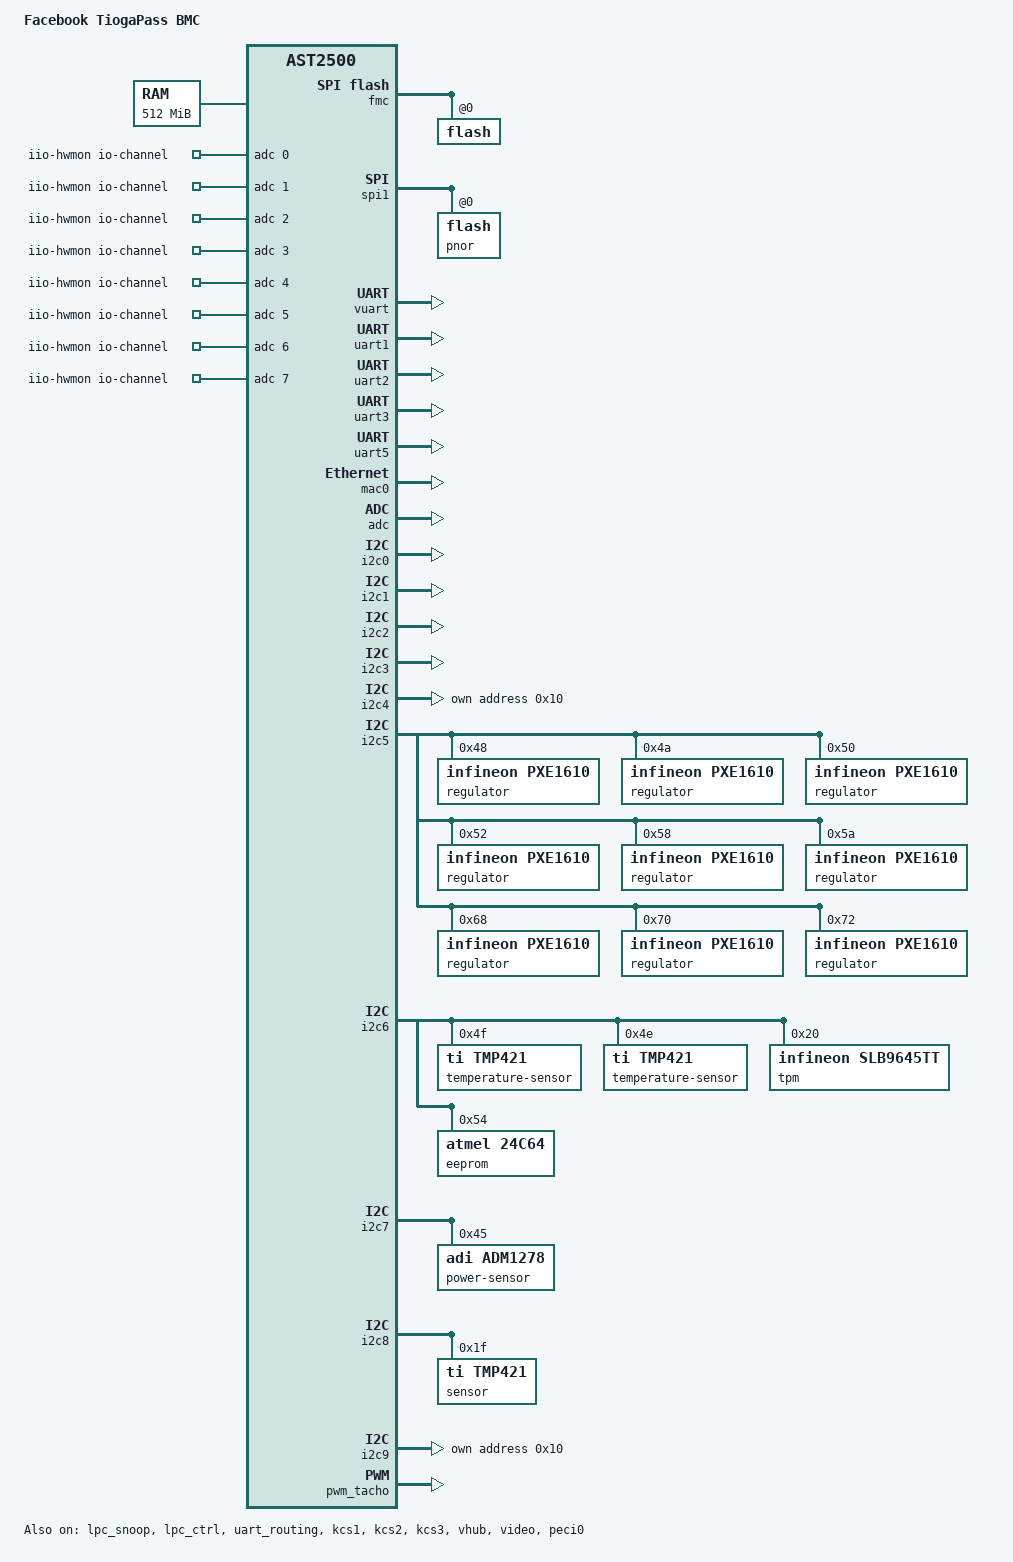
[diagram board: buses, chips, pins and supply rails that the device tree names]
// SPDX-License-Identifier: GPL-2.0+
// Copyright (c) 2018 Facebook Inc.
// Author: Vijay Khemka <vijaykhemka@fb.com>
/dts-v1/;

#include "aspeed-g5.dtsi"
#include <dt-bindings/gpio/aspeed-gpio.h>
#include <dt-bindings/interrupt-controller/irq.h>
#include <dt-bindings/i2c/i2c.h>

/ {
	model = "Facebook TiogaPass BMC";
	compatible = "facebook,tiogapass-bmc", "aspeed,ast2500";
	aliases {
		serial0 = &uart1;
		serial4 = &uart5;
	};

	chosen {
		stdout-path = &uart5;
		bootargs = "console=ttyS4,115200 earlycon";
	};

	memory@80000000 {
		reg = <0x80000000 0x20000000>;
	};

	reserved-memory {
		#address-cells = <1>;
		#size-cells = <1>;
		ranges;

		vga_memory: framebuffer@bc000000 {
			no-map;
			reg = <0xbc000000 0x04000000>; /* 64M */
		};

		video_engine_memory: jpegbuffer {
			size = <0x02000000>;	/* 32M */
			alignment = <0x01000000>;
			compatible = "shared-dma-pool";
			reusable;
		};
	};

	iio-hwmon {
		compatible = "iio-hwmon";
		io-channels = <&adc 0>, <&adc 1>, <&adc 2>, <&adc 3>,
			      <&adc 4>, <&adc 5>, <&adc 6>, <&adc 7>;
	};
};

&fmc {
	status = "okay";
	flash@0 {
		status = "okay";
		m25p,fast-read;
#include "openbmc-flash-layout-64.dtsi"
	};
};

&spi1 {
	status = "okay";
	pinctrl-names = "default";
	pinctrl-0 = <&pinctrl_spi1_default>;
	flash@0 {
		status = "okay";
		m25p,fast-read;
		label = "pnor";
	};
};

&lpc_snoop {
	status = "okay";
	snoop-ports = <0x80>;
};

&lpc_ctrl {
	// Enable lpc clock
	status = "okay";
};

&vuart {
        status = "okay";
        aspeed,lpc-io-reg = <0x2f8>;
        aspeed,lpc-interrupts = <3 IRQ_TYPE_LEVEL_HIGH>;
};

&uart1 {
	// Host Console
	status = "okay";
	pinctrl-names = "default";
	pinctrl-0 = <&pinctrl_txd1_default
		     &pinctrl_rxd1_default>;
};

&uart2 {
	// SoL Host Console
	status = "okay";
};

&uart3 {
	// SoL BMC Console
	status = "okay";
};

&uart5 {
	// BMC Console
	status = "okay";
};

&uart_routing {
	status = "okay";
};

&kcs1 {
	status = "okay";
	aspeed,lpc-io-reg = <0xca0>;
};

&kcs2 {
	status = "okay";
	aspeed,lpc-io-reg = <0xca8>;
};

&kcs3 {
	status = "okay";
	aspeed,lpc-io-reg = <0xca2>;
};

&mac0 { // OCP Mezz NIC
	status = "okay";

	pinctrl-names = "default";
	pinctrl-0 = <&pinctrl_rmii1_default>;
	clocks = <&syscon ASPEED_CLK_GATE_MAC1CLK>,
		 <&syscon ASPEED_CLK_MAC1RCLK>;
	clock-names = "MACCLK", "RCLK";
	use-ncsi;
};

&adc {
	status = "okay";
};

&vhub {
	status = "okay";
};

&video {
	status = "okay";
	memory-region = <&video_engine_memory>;
};

&peci0 {
	status = "okay";
};

&i2c0 {
	status = "okay";
	multi-master;
	//TODO: AirMax Conn B at 0x10?
	//TODO: CPU0 PIROM at 0x50
	//TODO: CPU1 PIROM at 0x51

	// Alicja: Is it really necessary? I see 0x10, 0x50, 0x51 when running our build...
};

&i2c1 {
	status = "okay";
	multi-master;
	//TODO
	//upstream .dts says there is an nxp,pca9544 at 0x71
	//but it does not appear for me even with host powered on.

	// Alicja: According to schematic, there's X24 Riser on this bus.
	// Maybe it will appear only with PCI-E mezzaine board installed?
};

&i2c2 {
	status = "okay";
	multi-master;
	//TODO at 0x10
	//TODO at 0x16
	//TODO at 0x70

	// Alicja: According to schematic, Mezzaine board and springwille should be here...
};

&i2c3 {
	status = "okay";
	multi-master;
	//TODO at 0x08 - Lewisburg PCH?
	//TODO at 0x44 - CKMNG?
	//TODO: Where's AT24?
	//TODO at 0x68 ICS9FGP204
	//TODO at 0x6c NB3W1200L (only when host is powered on) - A: Are you sure? Doesn't show up for me... 

/*
	TODO at 0x51 - looks like TMP421, even though it doesn't make sense (according to schematic)
	echo tmp421 0x51 > /sys/bus/i2c/devices/i2c-3/new_device
	[11722.981615] tmp421 3-0051: Enable monitoring chip
	[11723.024004] i2c i2c-3: new_device: Instantiated device tmp421 at 0x51
*/
};

&i2c4 {
	status = "okay";
	multi-master;
	// BMC Debug Header
	ipmb0@10 {
		compatible = "ipmb-dev";
		reg = <(0x10 | I2C_OWN_SLAVE_ADDRESS)>;
		i2c-protocol;
	};
	//TODO at 0x16
	//TODO at 0x70
	//springville smb should be here
};

&i2c5 {
	status = "okay";
	multi-master;
	
	// Needs more configuration.
	// See: Documentation/hwmon/pxe1610.rst
	regulator@48 {
		compatible = "infineon,pxe1610";
		reg = <0x48>;
	};
	regulator@4a {
		compatible = "infineon,pxe1610";
		reg = <0x4a>;
	};
	regulator@50 {
		compatible = "infineon,pxe1610";
		reg = <0x50>;
	};
	regulator@52 {
		compatible = "infineon,pxe1610";
		reg = <0x52>;
	};
	regulator@58 {
		compatible = "infineon,pxe1610";
		reg = <0x58>;
	};
	regulator@5a {
		compatible = "infineon,pxe1610";
		reg = <0x5a>;
	};
	regulator@68 {
		compatible = "infineon,pxe1610";
		reg = <0x68>;
	};
	regulator@70 {
		compatible = "infineon,pxe1610";
		reg = <0x70>;
	};
	regulator@72 {
		compatible = "infineon,pxe1610";
		reg = <0x72>;
	};
};

&i2c6 {
	status = "okay";
	multi-master;

// TODO: What's on 0x21? 
// TODO: What's on 0x50?
// One of them should be PCA9554... likely 0x21?

	// Not detected/nothing in dmesg
	temperature-sensor@4f {
		compatible = "ti,tmp421";
		reg = <0x4f>;
	};
	temperature-sensor@4e {
		compatible = "ti,tmp421";
		reg = <0x4e>;
	};

	tpm@20 {
		compatible = "infineon,slb9645tt";
		reg = <0x20>;
	};

	eeprom@54 {
		compatible = "atmel,24c64";
		reg = <0x54>;
		pagesize = <32>;
	};

};

&i2c7 {
	status = "okay";
	multi-master;
	
	power-sensor@45 {
		compatible = "adi,adm1278";
		reg = <0x45>;
		shunt-resistor-micro-ohms = <250>;
	};

};

&i2c8 {
	status = "okay";
	multi-master;
	// TODO: There's something on 0x61 on Meta's OpenBMC build. Possibly "MCP Sideband HFI"?

	// No TMP421 on this bus according to schematic but it appears on host power-on...
	sensor@1f {
		compatible = "ti,tmp421";
		reg = <0x1f>;
	};
};

&i2c9 {
	status = "okay";
	multi-master;
	//USB Debug Connector
	ipmb0@10 {
		compatible = "ipmb-dev";
		reg = <(0x10 | I2C_OWN_SLAVE_ADDRESS)>;
		i2c-protocol;
	};

	// One of them should be TCA9555 (tca9554 kmod) according to schematic
	// TODO 0x27 - likely TCA9555
	// TODO 0x30 - Likely USB Debug
};

&pwm_tacho {
	status = "okay";
	pinctrl-names = "default";
	pinctrl-0 = <&pinctrl_pwm0_default
					&pinctrl_pwm1_default>;
	fan@0 {
		reg = <0x00>;
		aspeed,fan-tach-ch = /bits/ 8 <0x00>;
	};
	fan@1 {
		reg = <0x01>;
		aspeed,fan-tach-ch = /bits/ 8 <0x01>;
	};
};


&gpio {
	status = "okay";
	gpio-line-names =
	/* A0-A7 */
		"BMC_CPLD_FPGA_SEL", "FM_CPLD_BMC_PWRDN_N", "TP_BMC_GPIOA2",
		"FM_BMC_SYS_THROTTLE_R_N", "SMB_OCP_FRU_STBY_LVC3_SCL_R",
		"SMB_OCP_FRU_STBY_LVC3_SDA_R", "FM_BB_BMC_MP_GPIO",
		"FM_BMC_CPLD_MP_RST_N",
	/* B0-B7 */
		"PWRGD_PCH_PWROK", "BMC_DEBUG_EN", "FM_MP_PS_FAIL_N",
		"H_CPU0_FAST_WAKE_LVT3_N", "CLK_48M_USB_BMC_R", "BMC_PPIN",
		"PS_PWROK", "IRQ_PVDDQ_GHJ_VRHOT_LVT3",
	/* C0-C7 */
		"SMB_DEBUG_STBY_LVC3_SCL_R", "SMB_DEBUG_STBY_LVC3_SDA_R",
		"SMB_PEHPCPU0_STBY_LVC3_SCL", "SMB_PEHPCPU0_STBY_LVC3_SDA",
		"SMB_PEHPCPU1_STBY_LVC3_SCL", "SMB_PEHPCPU1_STBY_LVC3_SDA",
		"SMB_PEHPCPU0_STBY_LVC3_R2_SCL", "SMB_PEHPCPU0_STBY_LVC3_R2_SDA",
	/* D0-D7 */
		"BIOS_MRC_DEBUG_MSG_DIS", "BOARD_REV_ID0", "FM_SOL_UART_CH_SEL",
		"BOARD_REV_ID1", "IRQ_DIMM_SAVE_LVT3", "BOARD_REV_ID2",
		"CPU_ERR0_LVT3_BMC", "CPU_ERR1_LVT3_BMC",
	/* E0-E7 */
		"RESET_BUTTON", "RESET_OUT", "POWER_BUTTON", "POWER_OUT",
		"NMI_BUTTON", "IRQ_BMC_PCH_NMI_STBY_N", "CPU0_PROCHOT_LVT3_BMC",
		"CPU1_PROCHOT_LVT3_BMC",
	/* F0-F7 */
		"IRQ_PVDDQ_ABC_VRHOT_LVT3", "SPI_BMC_BT_WP0_N",
		"IRQ_PVCCIN_CPU0_VRHOT_LVC3", "IRQ_PVCCIN_CPU1_VRHOT_LVC3",
		"IRQ_PVDDQ_KLM_VRHOT_LVT3", "FM_OCP_MEZZB_PRES_LVT3_BMC",
		"P3VBAT_BRIDGE_EN", "FM_OCP_MEZZC_PRES_LVT3_BMC",
	/* G0-G7 */
		"CPU_ERR2_LVT3", "CPU_CATERR_LVT3", "PCH_BMC_THERMTRIP",
		"CPU0_SKTOCC_LVT3", "RQ_PCH_NIC_ALERT_N", "IRQ_OOB_MGMT_RISER_ALERT_N",
		"IRQ_MEZZ_LAN_ALERT_N", "BIOS_SMI_ACTIVE",
	/* H0-H7 */
		"LED_POST_CODE_0", "LED_POST_CODE_1", "LED_POST_CODE_2",
		"LED_POST_CODE_3", "LED_POST_CODE_4", "LED_POST_CODE_5",
		"LED_POST_CODE_6", "LED_POST_CODE_7",
	/* I0-I7 */
		"CPU0_FIVR_FAULT_LVT3", "CPU1_FIVR_FAULT_LVT3", "FORCE_ADR",
		"UV_ADR_TRIGGER_EN", "SPI_BMC_CS0_N", "SPI_BMC_CLK",
		"SPI_BMC_DO", "SPI_BMC_DI",
	/* J0-J7 */
		"SGPIO_BMC_CLK_R", "SGPIO_BMC_LD_R_N", "SGPIO_BMC_DOUT_R",
		"SGPIO_BMC_DIN", "BMC_VGA_HSYNC", "BMC_VGA_VSYNC",
		"I2C_BMC_VGA_DDC_SCL", "I2C_BMC_VGA_DDC_SDA",
	/* K0-K7 */
		"SMB_SMLINK0_STBY_LVC3_SCL_R", "SMB_SMLINK0_STBY_LVC3_SDA_R",
		"SMB_VR_STBY_LVC3_SCL_R", "SMB_VR_STBY_LVC3_SDA_R",
		"SMB_SENSOR_BMC_STBY_LVC3_SCL", "SMB_SENSOR_BMC_STBY_LVC3_SDA",
		"SMB_BMC_PMBUS_STBY_LVC3_SCL_R", "SMB_BMC_PMBUS_STBY_LVC3_SDA_R",
	/* L0-L7 */
		"IRQ_UV_DETECT", "IRQ_OC_DETECT", "HSC_TIMER_EXP", "FM_BIOS_TOP_SWAP",
		"MEM_THERM_EVENT_PCH", "PMBUS_ALERT_BUF_EN",
		"SP1_BMC_HOST_UART_TX", "SP1_BMC_HOST_UART_RX",
	/* M0-M7 */
		"CPU0_RC_ERROR", "CPU1_RC_ERROR", "IRQ_BOARD_BMC_ALERT_N",
		"OC_DETECT_EN", "CPU0_THERMTRIP_LATCH_LVT3", "CPU1_THERMTRIP_LATCH_LVT3",
		"SP2_BMC_CM_UART_TX", "SP2_BMC_CM_UART_RX",
	/* N0-N7 */
		"FAN_PWM_OUT_SYS0", "FAN_PWM_OUT_SYS1", "FM_BIOS_PREFRB2_GOOD",
		"CPU_MSMI_LVT3", "FM_BACKUP_BIOS_SEL_N", "BIOS_SPI_BMC_CTRL",
		"PUMP_PWM_OUT", "FM_PWRBRK_N",
	/* O0-O7 */
		"FAN_TACH0", "FAN_TACH1", "FAN_TACH2", "FAN_TACH3",
		"PUMP_TACH0", "PUMP_TACH1", "FM_XRC_PRESENT_N", "FM_XRC_READY_N",
	/* P0-P7 */
		"BOARD_SKU_ID0", "BOARD_SKU_ID1", "BOARD_SKU_ID2",
		"BOARD_SKU_ID3", "BOARD_SKU_ID4", "BMC_PREQ",
		"BMC_PWR_DEBUG", "RST_RSMRST",
	/* Q0-Q7 */
		"SMB_OCP_LAN_STBY_LVC3_SCL_R", "SMB_OCP_LAN_STBY_LVC3_SDA_R",
		"SMB_HOST_STBY_LVC3_SCL_R", "SMB_HOST_STBY_LVC3_SDA_R",
		"UARTSW_LSB", "UARTSW_MSB", "POST_CARD_PRES_BMC", "PE_BMC_WAKE",
	/* R0-R7 */
		"SPI_BMC_BT_CS_R_N", "FM_MP_PS_REDUNDANT_LOST_N",
		"BMC_TCK_MUX_SEL", "BMC_PRDY", "BMC_XDP_PRSNT_IN",
		"RST_BMC_PLTRST_BUF", "SLT_CFG0", "SLT_CFG1",
	/* S0-S7, (S5 N/C) */
		"THROTTLE", "BMC_READY", "IRQ_SML0_ALERT_N",
		"HSC_SMBUS_SWITCH_EN", "BMC_STRAP_BIT3",
		"", "BMC_STRAP_BIT5", "GPIOS7",
	/* T0-T7, (N/C) */
		"", "RMII_BMC_OCP_TXEN_R", "RMII_BMC_OCP_TXD0_R",
		"RMII_BMC_OCP_TXD1_R", "TP_RGMII1TXD2_GPIOT4",
		"TP_RGMII1TXD3_GPIOT5", "", "RMII_BMC_SPRNGVLLE_TXEN_R",
	/* U0-U7 */
		"RMII_BMC_PCH_SPRNGVLLE_TXD0_R", "RMII_BMC_PCH_SPRNGVLLE_TXD1_R",
		"TP_RGMII2TXD2_GPIOU2", "TP_RGMII2TXD3_GPIOU3", "CLK_50M_CKMNG_BMC_1",
		"BMC_FAULT", "RMII_BMC_OCP_RXD0", "RMII_BMC_OCP_RXD1",
	/* V0-V7 */
		"RMII_BMC_OCP_CRSDV", "RMII_BMC_OCP_RXER", "CLK_50M_CKMNG_BMC_2",
		"FAST_PROCHOT_EN", "RMII_SPRNGVLLE_BMC_PCH_RXD0",
		"RMII_SPRNGVLLE_BMC_PCH_RXD1", "RMII_BMC_PCH_SPRNGVLLE_CRSDV",
		"RMII_BMC_PCH_SPRNGVLLE_RXER",
	/* W0-W7 (Leaving GPI-W group unconfigured) */
		"", "", "", "", "", "", "", "",
	/* X0-X7 (X0 - X2 N/C) */
		"", "", "",
		"GLOBAL_RST_WARN", "CPU0_MEMABC_MEMHOT_LVT3_BMC",
		"CPU0_MEMDEF_MEMHOT_LVT3_BMC", "CPU1_MEMGHJ_MEMHOT_LVT3_BMC",
		"CPU1_MEMKLM_MEMHOT_LVT3_BMC",
	/* Y0-Y7 */
		"SIO_S3", "SIO_S5", "BMC_JTAG_SEL", "SIO_ONCONTROL",
		"SMB_LAN_STBY_LVC3_SCL_R", "SMB_LAN_STBY_LVC3_SDA_R",
		"SMB_SLOTX24_STBY_LVC3_SCL_R", "SMB_SLOTX24_STBY_LVC3_SDA_R",
	/* Z0-Z7 */	
		"FM_BMC_CPLD_GPO", "SIO_POWER_GOOD", "IRQ_PVDDQ_DEF_VRHOT_LVT3",
		"IRQ_BMC_PCH_SCI_LPC_N", "BMC_STRAP_BIT17", "BMC_STRAP_BIT18",
		"BMC_STRAP_BIT20", "BMC_STRAP_BIT27",
	/* AA0-AA7 */
		"CPU1_SKTOCC_LVT3", "IRQ_SML1_PMBUS_ALERT", "SERVER_POWER_LED",
		"FM_TPM_PRES_N", "PECI_MUX_SELECT", "UV_HIGH_SET", "IRQ_LOM_ALERT_N",
		"POST_COMPLETE",
	/* AB0-AB7 (AB3-AB7 N/C) */
		"IRQ_HSC_FAULT", "OCP_MEZZA_PRES", "BMC_SELF_HW_RST",
		"", "", "", "", "",
	/* AC0-AC7 */
		"LPC_LAD0_IO0_R", "LPC_LAD1_IO1_R", "LPC_LAD2_IO2_R", "LPC_LAD3_IO3_R",
		"CLK_24M_BMC_LPC", "LPC_LFRAME_N_CS0_R_N", "IRQ_LPC_SERIRQ_R",
		"RST_BMC_LVC3_N";
};
